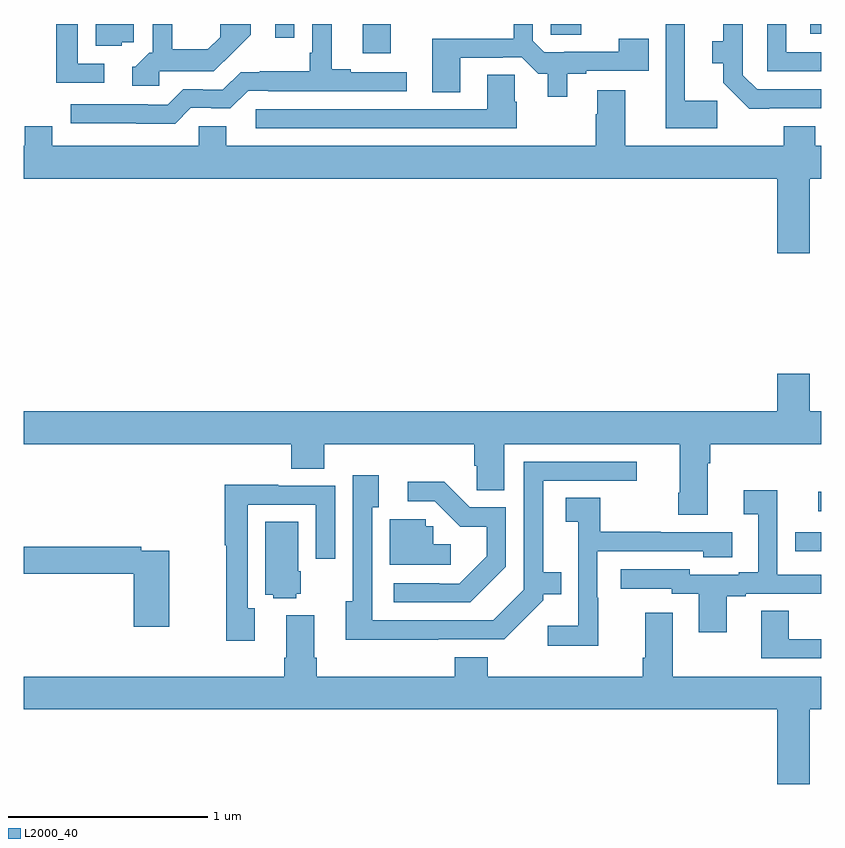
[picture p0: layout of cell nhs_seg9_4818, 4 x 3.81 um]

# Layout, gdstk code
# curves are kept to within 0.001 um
import gdstk
lib = gdstk.Library(unit=1e-6, precision=1e-09)
def R(c, l, rs):  # rectangles x0, y0, x1, y1
    for r in rs: c.add(gdstk.rectangle(r[:2], r[2:], *l))
def P(c, l, *ps):  # polygons
    for p in ps: c.add(gdstk.Polygon(p, *l))
L2000_40 = (2000, 40)

nhs_seg9_4818 = lib.new_cell('nhs_seg9_4818')
R(nhs_seg9_4818, L2000_40, [(392.985,1224.054,393,1224.153), (390.701,1226.352,390.841,1226.5), (390.261,1226.43,390.357,1226.5), (391.643,1226.446,391.797,1226.5), (392.946,1226.45,393,1226.5)])
P(nhs_seg9_4818, L2000_40, [(389.49,1226.409),(389.55,1226.409),(389.55,1226.5),(389.361,1226.5),(389.361,1226.39),(389.49,1226.39)],
  [(392.478,1226.115),(392.317,1226.115),(392.317,1226.5),(392.22,1226.5),(392.22,1225.976),(392.478,1225.976)],
  [(389.838,1226.079),(389.939,1226.079),(389.939,1226.076),(390.036,1226.076),(390.126,1226.166),(390.226,1226.166),(390.226,1226.163),(390.922,1226.163),(390.922,1226.259),(390.64,1226.259),(390.64,1226.272),(390.544,1226.272),(390.544,1226.5),(390.447,1226.5),(390.447,1226.356),(390.435,1226.356),(390.435,1226.263),(390.184,1226.263),(390.184,1226.259),(390.087,1226.259),(389.997,1226.169),(389.897,1226.169),(389.897,1226.172),(389.799,1226.172),(389.721,1226.094),(389.621,1226.094),(389.621,1226.097),(389.235,1226.097),(389.235,1226.001),(389.759,1226)],
  [(389.679,1226.262),(389.953,1226.262),(390.139,1226.446),(390.139,1226.5),(389.985,1226.5),(389.985,1226.434),(389.923,1226.373),(389.744,1226.373),(389.744,1226.5),(389.646,1226.5),(389.646,1226.355),(389.628,1226.355),(389.559,1226.286),(389.543,1226.286),(389.543,1226.19),(389.679,1226.19)],
  [(393,1226.358),(392.826,1226.358),(392.826,1226.5),(392.73,1226.5),(392.73,1226.262),(393,1226.262)],
  [(389.404,1226.301),(389.271,1226.301),(389.271,1226.5),(389.163,1226.5),(389.163,1226.205),(389.404,1226.205)],
  [(392.74,1226.076),(393,1226.076),(393,1226.172),(392.679,1226.172),(392.607,1226.244),(392.607,1226.5),(392.51,1226.5),(392.51,1226.413),(392.453,1226.413),(392.453,1226.303),(392.51,1226.303),(392.51,1226.204),(392.639,1226.075)],
  [(391.726,1226.25),(391.822,1226.25),(391.822,1226.265),(392.135,1226.265),(392.135,1226.426),(391.984,1226.426),(391.984,1226.361),(391.711,1226.361),(391.711,1226.358),(391.611,1226.358),(391.554,1226.415),(391.554,1226.5),(391.458,1226.5),(391.458,1226.427),(391.049,1226.427),(391.049,1226.158),(391.189,1226.158),(391.189,1226.331),(391.403,1226.331),(391.403,1226.334),(391.497,1226.334),(391.581,1226.25),(391.628,1226.25),(391.628,1226.136),(391.726,1226.136)],
  [(391.473,1226.109),(391.463,1226.109),(391.463,1226.246),(391.325,1226.246),(391.325,1226.073),(390.162,1226.073),(390.162,1225.977),(391.473,1225.977)],
  [(392.78,1225.35),(392.944,1225.35),(392.944,1225.724),(393,1225.724),(393,1225.888),(392.972,1225.888),(392.972,1225.987),(392.812,1225.987),(392.812,1225.888),(392.017,1225.888),(392.017,1226.167),(391.877,1226.167),(391.877,1226.048),(391.87,1226.048),(391.87,1225.888),(390.016,1225.888),(390.016,1225.986),(389.877,1225.986),(389.877,1225.888),(389.143,1225.888),(389.143,1225.987),(389.003,1225.987),(389.003,1225.888),(389,1225.888),(389,1225.724),(392.78,1225.724)],
  [(392.431,1224.296),(392.444,1224.296),(392.444,1224.392),(393,1224.392),(393,1224.556),(392.944,1224.556),(392.944,1224.745),(392.78,1224.745),(392.78,1224.556),(389,1224.556),(389,1224.392),(390.341,1224.392),(390.341,1224.268),(390.506,1224.268),(390.506,1224.392),(391.259,1224.392),(391.259,1224.282),(391.273,1224.282),(391.273,1224.16),(391.411,1224.16),(391.411,1224.392),(392.291,1224.392),(392.291,1224.148),(392.284,1224.148),(392.284,1224.036),(392.431,1224.036)],
  [(391.079,1223.412),(391.41,1223.412),(391.605,1223.607),(391.605,1223.639),(391.697,1223.639),(391.697,1223.749),(391.606,1223.749),(391.606,1224.207),(392.074,1224.207),(392.074,1224.303),(391.509,1224.303),(391.509,1223.661),(391.356,1223.508),(390.747,1223.508),(390.747,1224.074),(390.781,1224.074),(390.781,1224.235),(390.651,1224.235),(390.651,1223.602),(390.614,1223.602),(390.614,1223.411)],
  [(391.419,1223.777),(391.419,1224.075),(391.236,1224.075),(391.108,1224.203),(390.927,1224.203),(390.927,1224.105),(391.062,1224.105),(391.189,1223.978),(391.322,1223.978),(391.322,1223.828),(391.185,1223.691),(391.085,1223.691),(391.085,1223.694),(390.855,1223.694),(390.855,1223.598),(391.24,1223.598)],
  [(390.157,1223.567),(390.123,1223.567),(390.123,1224.087),(390.465,1224.087),(390.465,1223.817),(390.561,1223.817),(390.561,1224.183),(390.277,1224.183),(390.277,1224.187),(390.007,1224.187),(390.007,1223.883),(390.015,1223.883),(390.015,1223.406),(390.157,1223.406)],
  [(392.527,1223.628),(392.623,1223.628),(392.623,1223.64),(393,1223.64),(393,1223.736),(392.781,1223.736),(392.781,1224.16),(392.613,1224.16),(392.613,1224.04),(392.684,1224.04),(392.684,1223.749),(392.588,1223.749),(392.588,1223.736),(392.34,1223.736),(392.34,1223.763),(391.995,1223.763),(391.995,1223.667),(392.25,1223.667),(392.25,1223.64),(392.387,1223.64),(392.387,1223.448),(392.527,1223.448)],
  [(391.881,1223.621),(391.878,1223.621),(391.878,1223.853),(392.409,1223.853),(392.409,1223.825),(392.554,1223.825),(392.554,1223.949),(392.195,1223.949),(392.195,1223.952),(391.891,1223.952),(391.891,1224.122),(391.719,1224.122),(391.719,1224.001),(391.782,1224.001),(391.782,1223.479),(391.629,1223.479),(391.629,1223.381),(391.881,1223.381)],
  [(391.141,1223.89),(391.053,1223.89),(391.053,1223.979),(391.017,1223.979),(391.017,1224.015),(390.836,1224.015),(390.836,1223.787),(391.141,1223.787)],
  [(390.366,1223.64),(390.388,1223.64),(390.388,1223.754),(390.376,1223.754),(390.376,1224.002),(390.212,1224.002),(390.212,1223.636),(390.252,1223.636),(390.252,1223.618),(390.366,1223.618)],
  [(393,1223.949),(392.871,1223.949),(392.871,1223.854),(392.983,1223.854),(392.983,1223.853),(393,1223.853)],
  [(389.73,1223.856),(389.588,1223.856),(389.588,1223.876),(389,1223.876),(389,1223.74),(389.552,1223.74),(389.552,1223.475),(389.73,1223.475)],
  [(393,1223.412),(392.839,1223.412),(392.839,1223.555),(392.699,1223.555),(392.699,1223.316),(393,1223.316)],
  [(392.944,1223.06),(393,1223.06),(393,1223.224),(392.257,1223.224),(392.257,1223.545),(392.117,1223.545),(392.117,1223.32),(392.105,1223.32),(392.105,1223.224),(391.328,1223.224),(391.328,1223.323),(391.163,1223.323),(391.163,1223.224),(390.47,1223.224),(390.47,1223.32),(390.457,1223.32),(390.457,1223.533),(390.317,1223.533),(390.317,1223.32),(390.305,1223.32),(390.305,1223.224),(389,1223.224),(389,1223.06),(392.78,1223.06),(392.78,1222.686),(392.944,1222.686)])

lib.write_gds('nhs_seg9_4818.gds')
